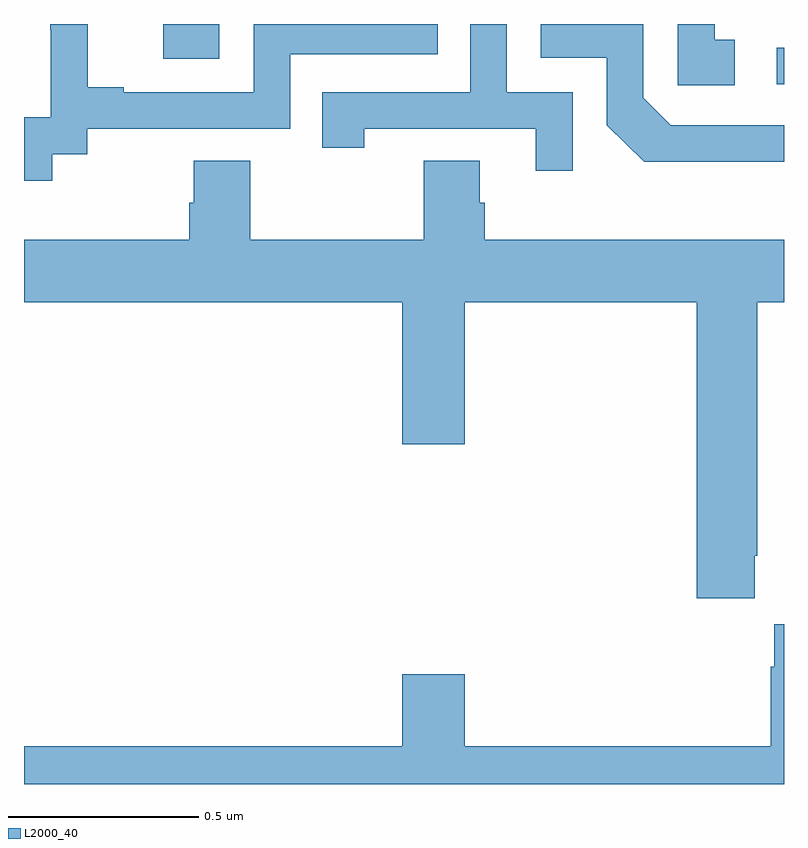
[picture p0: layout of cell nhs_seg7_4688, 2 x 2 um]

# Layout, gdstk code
import gdstk
lib = gdstk.Library(unit=1e-6, precision=1e-09)
def R(c, l, rs):  # rectangles x0, y0, x1, y1
    for r in rs: c.add(gdstk.rectangle(r[:2], r[2:], *l))
def P(c, l, *ps):  # polygons
    for p in ps: c.add(gdstk.Polygon(p, *l))
L2000_40 = (2000, 40)

nhs_seg7_4688 = lib.new_cell('nhs_seg7_4688')
R(nhs_seg7_4688, L2000_40, [(177.981,1015.842,178,1015.938), (176.367,1015.908,176.514,1016)])
P(nhs_seg7_4688, L2000_40, [(177.871,1015.959),(177.818,1015.959),(177.818,1016),(177.72,1016),(177.72,1015.839),(177.871,1015.839)],
  [(177.444,1015.821),(177.27,1015.821),(177.27,1016),(177.174,1016),(177.174,1015.821),(176.785,1015.821),(176.785,1015.674),(176.896,1015.674),(176.896,1015.725),(177.347,1015.725),(177.347,1015.614),(177.444,1015.614)],
  [(178,1015.734),(177.702,1015.734),(177.63,1015.806),(177.63,1016),(177.36,1016),(177.36,1015.911),(177.534,1015.911),(177.534,1015.734),(177.632,1015.637),(178,1015.637)],
  [(176.074,1015.657),(176.166,1015.657),(176.166,1015.725),(176.7,1015.725),(176.7,1015.92),(177.089,1015.92),(177.089,1016),(176.604,1016),(176.604,1015.821),(176.263,1015.821),(176.263,1015.834),(176.168,1015.834),(176.168,1016),(176.069,1016),(176.069,1015.985),(176.07,1015.985),(176.07,1015.755),(176,1015.755),(176,1015.587),(176.074,1015.587)],
  [(177.923,1014.601),(177.93,1014.601),(177.93,1015.268),(178,1015.268),(178,1015.432),(177.212,1015.432),(177.212,1015.53),(177.199,1015.53),(177.199,1015.64),(177.052,1015.64),(177.052,1015.432),(176.595,1015.432),(176.595,1015.64),(176.447,1015.64),(176.447,1015.53),(176.435,1015.53),(176.435,1015.432),(176,1015.432),(176,1015.268),(176.996,1015.268),(176.996,1014.894),(177.16,1014.894),(177.16,1015.268),(177.77,1015.268),(177.77,1014.489),(177.923,1014.489)],
  [(178,1014.421),(177.974,1014.421),(177.974,1014.308),(177.965,1014.308),(177.965,1014.1),(177.16,1014.1),(177.16,1014.289),(176.996,1014.289),(176.996,1014.1),(176,1014.1),(176,1014),(178,1014)])

lib.write_gds('nhs_seg7_4688.gds')
